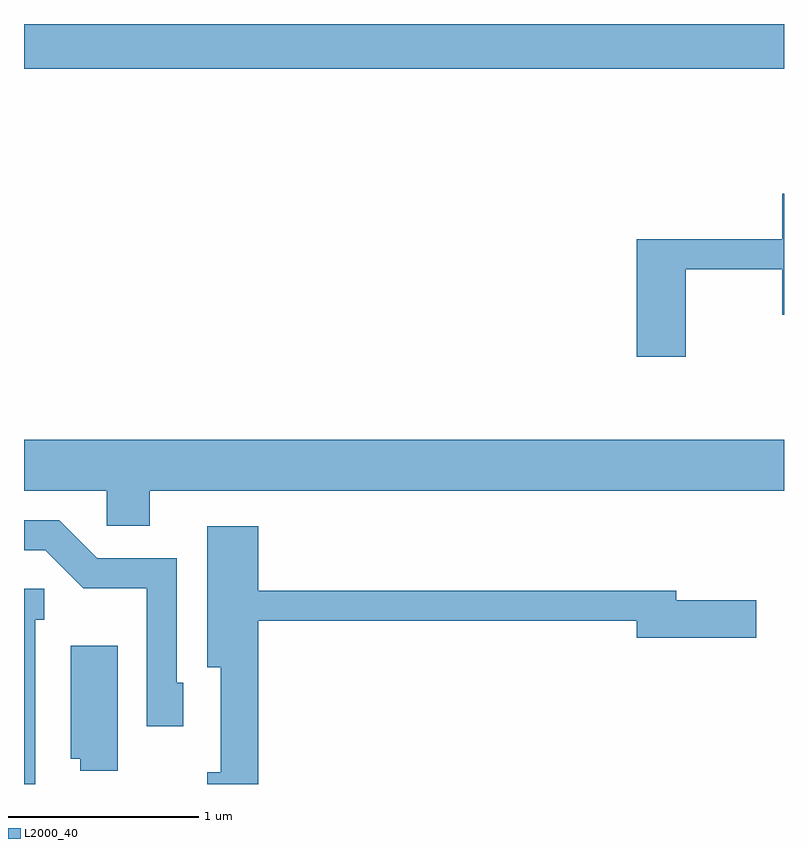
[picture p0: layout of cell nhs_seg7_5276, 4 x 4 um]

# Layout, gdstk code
import gdstk
lib = gdstk.Library(unit=1e-6, precision=1e-09)
def R(c, l, rs):  # rectangles x0, y0, x1, y1
    for r in rs: c.add(gdstk.rectangle(r[:2], r[2:], *l))
def P(c, l, *ps):  # polygons
    for p in ps: c.add(gdstk.Polygon(p, *l))
L2000_40 = (2000, 40)

nhs_seg7_5276 = lib.new_cell('nhs_seg7_5276')
R(nhs_seg7_5276, L2000_40, [(345.611,1792.016,349.611,1792.252)])
P(nhs_seg7_5276, L2000_40, [(349.094,1790.961),(349.601,1790.961),(349.601,1790.721),(349.611,1790.721),(349.611,1791.359),(349.601,1791.359),(349.601,1791.119),(348.836,1791.119),(348.836,1790.501),(349.094,1790.501)],
  [(346.274,1789.796),(349.611,1789.796),(349.611,1790.064),(345.611,1790.064),(345.611,1789.796),(346.046,1789.796),(346.046,1789.611),(346.274,1789.611)],
  [(346.449,1788.784),(346.414,1788.784),(346.414,1789.439),(345.997,1789.439),(345.797,1789.639),(345.611,1789.639),(345.611,1789.481),(345.724,1789.481),(345.924,1789.281),(346.256,1789.281),(346.256,1788.556),(346.449,1788.556)],
  [(346.844,1789.111),(348.836,1789.111),(348.836,1789.021),(349.464,1789.021),(349.464,1789.219),(349.044,1789.219),(349.044,1789.269),(346.844,1789.269),(346.844,1789.609),(346.576,1789.609),(346.576,1788.866),(346.646,1788.866),(346.646,1788.314),(346.576,1788.314),(346.576,1788.252),(346.844,1788.252)],
  [(345.669,1789.116),(345.718,1789.116),(345.718,1789.279),(345.611,1789.279),(345.611,1788.252),(345.669,1788.252)],
  [(346.104,1788.979),(345.856,1788.979),(345.856,1788.386),(345.906,1788.386),(345.906,1788.321),(346.104,1788.321)])

lib.write_gds('nhs_seg7_5276.gds')
